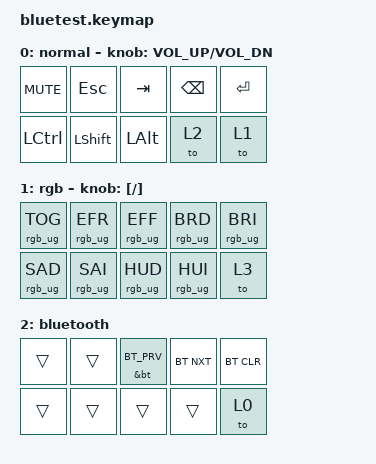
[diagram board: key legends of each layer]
#include <behaviors.dtsi>
#include <dt-bindings/zmk/keys.h>
#include <dt-bindings/zmk/bt.h>
#include <dt-bindings/zmk/outputs.h>
#include <dt-bindings/zmk/ext_power.h>

#define normal 0
#define rgb   1
#define bluetooth   2

/ {
    macros {
        ctrlz: ctrlz {
            label = "ZM_ctrlz";
            compatible = "zmk,behavior-macro";
            #binding-cells = <0>;
            wait-ms = <40>;
            tap-ms = <40>;
            bindings
                = <&macro_press   &kp LCTRL>
                , <&macro_tap     &kp Z>    
                , <&macro_release &kp LCTRL>
                ;
        };
        ctrlv: ctrlv {
            label = "ZM_ctrlv";
            compatible = "zmk,behavior-macro";
            #binding-cells = <0>;
            wait-ms = <40>;
            tap-ms = <40>;
            bindings
                = <&macro_press   &kp LCTRL>
                , <&macro_tap     &kp V>    
                , <&macro_release &kp LCTRL>
                ;
        };
        ctrlt: ctrlt {
            label = "ZM_ctrlt";
            compatible = "zmk,behavior-macro";
            #binding-cells = <0>;
            wait-ms = <40>;
            tap-ms = <40>;
            bindings
                = <&macro_press   &kp LCTRL>
                , <&macro_tap     &kp T>    
                , <&macro_release &kp LCTRL>
                ;
        };
      ctrlu: ctrlu {
            label = "ZM_ctrlu";
            compatible = "zmk,behavior-macro";
            #binding-cells = <0>;
            wait-ms = <40>;
            tap-ms = <40>;
            bindings
                = <&macro_press   &kp LCTRL>
                , <&macro_tap     &kp U>    
                , <&macro_release &kp LCTRL>
                ;
        };
    };
    };


keymap {
    compatible = "zmk,keymap";

    normal {
// ------------------------------------------
// |  mute  |  esc  |  tab  |  to3  |  to1  |
// |  ctrl  | shift |  alt  |  back | enter |
// ------------------------------------------

        bindings = <
&kp K_MUTE &kp ESC    &kp TAB  &kp BSPC    &kp RET
&kp LCTRL  &kp LSHIFT &kp LALT &to 2       &to 1
        >;
        sensor-bindings = <
        &inc_dec_kp C_VOL_UP C_VOL_DN              
        >;
    };
    rgb {
// -------------------------------
// |mute |  a  |  b  | to3 | to1 |
// |ctrl |shift| alt | back|RGTOG|
// -------------------------------

        bindings = <
&rgb_ug RGB_TOG    &rgb_ug RGB_EFR     &rgb_ug RGB_EFF     &rgb_ug RGB_BRD       &rgb_ug RGB_BRI
&rgb_ug RGB_SAD    &rgb_ug RGB_SAI     &rgb_ug RGB_HUD     &rgb_ug RGB_HUI       &to 3
        >;
        sensor-bindings = <
        &inc_dec_kp LBKT RBKT       
        >;
    };
    bluetooth {
// -------------------------------
// |mute |  a  |  b  | to3 | to1 |
// |ctrl |shift| alt | back|enter|
// -------------------------------

        bindings = <
&trans      &trans       &&bt BT_PRV      &bt BT_NXT       &bt BT_CLR
&trans      &trans       &trans           &trans           &to 0

        >;
    };
};
};
